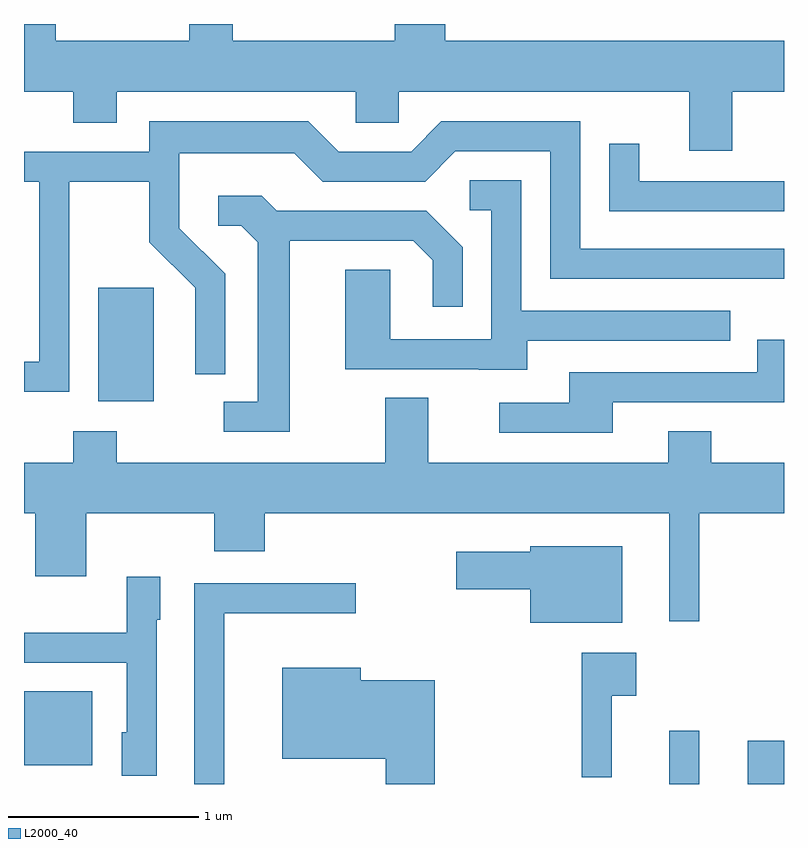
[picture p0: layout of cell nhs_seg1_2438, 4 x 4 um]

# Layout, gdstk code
import gdstk
lib = gdstk.Library(unit=1e-6, precision=1e-09)
def R(c, l, rs):  # rectangles x0, y0, x1, y1
    for r in rs: c.add(gdstk.rectangle(r[:2], r[2:], *l))
def P(c, l, *ps):  # polygons
    for p in ps: c.add(gdstk.Polygon(p, *l))
L2000_40 = (2000, 40)

nhs_seg1_2438 = lib.new_cell('nhs_seg1_2438')
R(nhs_seg1_2438, L2000_40, [(263.006,893.712,263.164,893.993), (263.421,893.712,263.611,893.939), (259.611,893.811,259.969,894.199), (260.001,895.726,260.294,896.324)])
P(nhs_seg1_2438, L2000_40, [(263.339,897.356),(263.611,897.356),(263.611,897.624),(261.829,897.624),(261.829,897.712),(261.561,897.712),(261.561,897.624),(260.709,897.624),(260.709,897.712),(260.481,897.712),(260.481,897.624),(259.779,897.624),(259.779,897.712),(259.611,897.712),(259.611,897.356),(259.871,897.356),(259.871,897.191),(260.099,897.191),(260.099,897.356),(261.356,897.356),(261.356,897.191),(261.584,897.191),(261.584,897.356),(263.111,897.356),(263.111,897.046),(263.339,897.046)],
  [(259.849,896.881),(260.271,896.881),(260.271,896.564),(260.511,896.324),(260.511,895.868),(260.669,895.868),(260.669,896.397),(260.429,896.637),(260.429,897.031),(261.034,897.031),(261.183,896.881),(261.722,896.881),(261.882,897.041),(262.381,897.041),(262.381,896.371),(263.611,896.371),(263.611,896.529),(262.539,896.529),(262.539,897.199),(261.808,897.199),(261.649,897.039),(261.267,897.039),(261.106,897.199),(260.271,897.199),(260.271,897.039),(259.611,897.039),(259.611,896.881),(259.691,896.881),(259.691,895.934),(259.611,895.934),(259.611,895.776),(259.849,895.776)],
  [(263.611,896.884),(262.849,896.884),(262.849,897.083),(262.691,897.083),(262.691,896.726),(263.611,896.726)],
  [(262.259,896.046),(263.328,896.046),(263.328,896.204),(262.229,896.204),(262.229,896.889),(261.957,896.889),(261.957,896.731),(262.071,896.731),(262.071,896.054),(261.539,896.054),(261.539,896.419),(261.301,896.419),(261.301,895.896),(262.005,895.896),(262.005,895.891),(262.259,895.891)],
  [(261.009,896.571),(261.659,896.571),(261.761,896.469),(261.761,896.223),(261.919,896.223),(261.919,896.537),(261.727,896.729),(260.942,896.729),(260.861,896.809),(260.633,896.809),(260.633,896.651),(260.754,896.651),(260.841,896.564),(260.841,895.724),(260.663,895.724),(260.663,895.566),(261.009,895.566)],
  [(262.709,895.721),(263.611,895.721),(263.611,896.049),(263.471,896.049),(263.471,895.879),(262.481,895.879),(262.481,895.719),(262.113,895.719),(262.113,895.561),(262.709,895.561)],
  [(263.164,895.136),(263.611,895.136),(263.611,895.404),(263.229,895.404),(263.229,895.569),(263.001,895.569),(263.001,895.404),(261.739,895.404),(261.739,895.744),(261.511,895.744),(261.511,895.404),(260.099,895.404),(260.099,895.569),(259.871,895.569),(259.871,895.404),(259.611,895.404),(259.611,895.136),(259.671,895.136),(259.671,894.806),(259.939,894.806),(259.939,895.136),(260.611,895.136),(260.611,894.936),(260.879,894.936),(260.879,895.136),(263.006,895.136),(263.006,894.568),(263.164,894.568)],
  [(262.759,894.964),(262.276,894.964),(262.276,894.934),(261.886,894.934),(261.886,894.736),(262.276,894.736),(262.276,894.561),(262.759,894.561)],
  [(260.309,894.576),(260.329,894.576),(260.329,894.804),(260.151,894.804),(260.151,894.509),(259.611,894.509),(259.611,894.351),(260.151,894.351),(260.151,893.984),(260.126,893.984),(260.126,893.756),(260.309,893.756)],
  [(260.664,894.611),(261.358,894.611),(261.358,894.769),(260.506,894.769),(260.506,893.712),(260.664,893.712)],
  [(262.704,894.176),(262.834,894.176),(262.834,894.404),(262.546,894.404),(262.546,893.748),(262.704,893.748)],
  [(261.774,894.259),(261.384,894.259),(261.384,894.324),(260.971,894.324),(260.971,893.846),(261.516,893.846),(261.516,893.712),(261.774,893.712)])

lib.write_gds('nhs_seg1_2438.gds')
